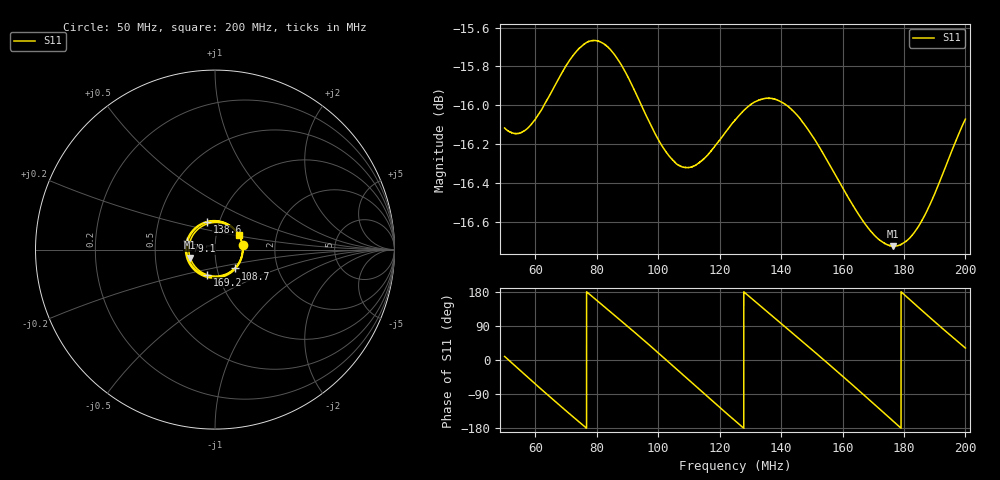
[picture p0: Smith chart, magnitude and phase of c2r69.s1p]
! COPPER MOUNTAIN TECHNOLOGIES, PLANAR TR1300/1, 00071119, 20.2.2/1.0
! Date: 1/9/2024 7:25:15 PM
! Data: Format [Calibration Info]
! Freq  S11: Re/Im F1
# HZ S RI R 50
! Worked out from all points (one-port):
!   12288 points, 50 MHz to 200 MHz, reference 50 ohm
!   lowest |S11| = -16.7 dB at 176.5 MHz (marker M1), VSWR 1.34, Z = 37.7 - j3.52 ohm
!   |S11| at or under -10 dB: start of sweep to end of sweep
!   S11 on the Smith chart (normalised r, x): 50 MHz: 1.36, +0.07; 79.1 MHz: 0.72, +0.07; 108.7 MHz: 1.22, -0.26; 138.6 MHz: 0.88, +0.27; 169.2 MHz: 0.88, -0.25; 200 MHz: 1.29, +0.22
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5e7  0.1543 0.0256
5.496867e7  0.1392 -0.0702
6.048669e7  0.0621 -0.1446
6.457638e7  -0.0167 -0.1585
6.875153e7  -0.0936 -0.1317
7.411085e7  -0.1562 -0.0494
7.910393e7  -0.1579 0.0468
8.750305e7  -0.0457 0.156
9.260601e7  0.0517 0.1511
9.817287e7  0.1326 0.0827
1.062546e8  0.1374 -0.0672
1.086718e8  0.1107 -0.1053
1.165704e8  -0.0282 -0.1514
1.250061e8  -0.1478 -0.0533
1.313299e8  -0.145 0.0647
1.386058e8  -0.0438 0.1528
1.437576e8  0.0524 0.1491
1.48824e8  0.1268 0.0912
1.532433e8  0.1536 0.0134
1.576382e8  0.1369 -0.0663
1.625092e8  0.074 -0.1302
1.691503e8  -0.0455 -0.1399
1.765484e8  -0.1384 -0.0457
1.812607e8  -0.1406 0.0404
1.864369e8  -0.0883 0.1191
1.908196e8  -0.0139 0.1503
1.950558e8  0.0636 0.1401
2e8  0.1339 0.0822
